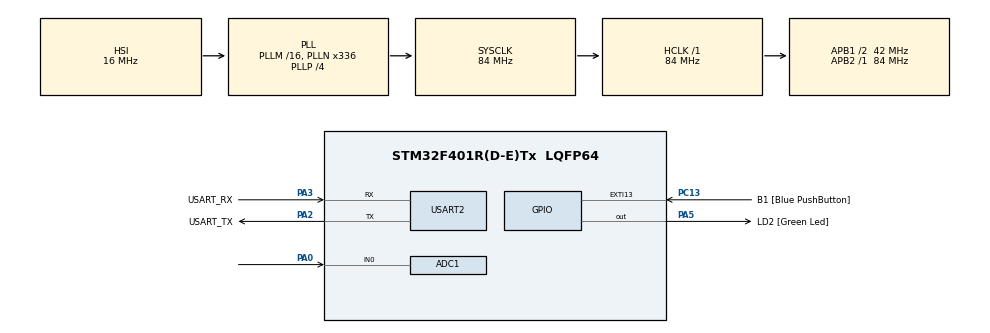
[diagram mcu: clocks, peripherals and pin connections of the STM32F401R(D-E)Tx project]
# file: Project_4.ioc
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ADC1.Channel-0\#ChannelRegularConversion=ADC_CHANNEL_0
ADC1.DMAContinuousRequests=ENABLE
ADC1.ExternalTrigConv=ADC_EXTERNALTRIGCONV_T3_TRGO
ADC1.NbrOfConversionFlag=1
ADC1.Rank-0\#ChannelRegularConversion=1
ADC1.SamplingTime-0\#ChannelRegularConversion=ADC_SAMPLETIME_480CYCLES
ADC1.master=1
Dma.ADC1.0.Direction=DMA_PERIPH_TO_MEMORY
Dma.ADC1.0.FIFOMode=DMA_FIFOMODE_DISABLE
Dma.ADC1.0.Instance=DMA2_Stream0
Dma.ADC1.0.MemDataAlignment=DMA_MDATAALIGN_WORD
Dma.ADC1.0.MemInc=DMA_MINC_ENABLE
Dma.ADC1.0.Mode=DMA_CIRCULAR
Dma.ADC1.0.PeriphDataAlignment=DMA_PDATAALIGN_WORD
Dma.ADC1.0.PeriphInc=DMA_PINC_DISABLE
Dma.ADC1.0.Priority=DMA_PRIORITY_LOW
Dma.Request0=ADC1
Mcu.Family=STM32F4
Mcu.Name=STM32F401R(D-E)Tx
Mcu.Package=LQFP64
NVIC.ADC_IRQn=true\:0\:0\:false\:false\:true\:true\:true
NVIC.DMA2_Stream0_IRQn=true\:0\:0\:false\:false\:true\:false\:true
NVIC.PriorityGroup=NVIC_PRIORITYGROUP_0
PA0-WKUP.Signal=ADCx_IN0
PA13.GPIO_Label=TMS
PA13.Mode=Serial_Wire
PA13.Signal=SYS_JTMS-SWDIO
PA14.GPIO_Label=TCK
PA14.Mode=Serial_Wire
PA14.Signal=SYS_JTCK-SWCLK
PA2.GPIO_Label=USART_TX
PA2.GPIO_Mode=GPIO_MODE_AF_PP
PA2.GPIO_PuPd=GPIO_NOPULL
PA2.GPIO_Speed=GPIO_SPEED_FREQ_LOW
PA2.Mode=Asynchronous
PA2.Signal=USART2_TX
PA3.GPIO_Label=USART_RX
PA3.GPIO_Mode=GPIO_MODE_AF_PP
PA3.GPIO_PuPd=GPIO_NOPULL
PA3.GPIO_Speed=GPIO_SPEED_FREQ_LOW
PA3.Mode=Asynchronous
PA3.Signal=USART2_RX
PA5.GPIO_Label=LD2 [Green Led]
PA5.GPIO_Mode=GPIO_MODE_OUTPUT_PP
PA5.GPIO_PuPd=GPIO_NOPULL
PA5.GPIO_Speed=GPIO_SPEED_FREQ_LOW
PA5.Signal=GPIO_Output
PB3.GPIO_Label=SWO
PB3.Signal=SYS_JTDO-SWO
PC13-ANTI_TAMP.GPIO_Label=B1 [Blue PushButton]
PC13-ANTI_TAMP.GPIO_ModeDefaultEXTI=GPIO_MODE_IT_FALLING
PC13-ANTI_TAMP.GPIO_PuPd=GPIO_NOPULL
PC13-ANTI_TAMP.Signal=GPXTI13
PC14-OSC32_IN.Mode=LSE-External-Oscillator
PC14-OSC32_IN.Signal=RCC_OSC32_IN
PC15-OSC32_OUT.Mode=LSE-External-Oscillator
PC15-OSC32_OUT.Signal=RCC_OSC32_OUT
PH0\ -\ OSC_IN.Mode=HSE-External-Clock-Source
PH0\ -\ OSC_IN.Signal=RCC_OSC_IN
PH1\ -\ OSC_OUT.Mode=HSE-External-Clock-Source
PH1\ -\ OSC_OUT.Signal=RCC_OSC_OUT
ProjectManager.HeapSize=0x200
ProjectManager.StackSize=0x400
ProjectManager.TargetToolchain=STM32CubeIDE
RCC.48MHZClocksFreq_Value=48000000
RCC.AHBFreq_Value=84000000
RCC.APB1CLKDivider=RCC_HCLK_DIV2
RCC.APB1Freq_Value=42000000
RCC.APB1TimFreq_Value=84000000
RCC.APB2Freq_Value=84000000
RCC.APB2TimFreq_Value=84000000
RCC.CortexFreq_Value=84000000
RCC.HCLKFreq_Value=84000000
RCC.HSE_VALUE=8000000
RCC.HSI_VALUE=16000000
RCC.PLLN=336
RCC.PLLP=RCC_PLLP_DIV4
RCC.PLLQ=7
RCC.SYSCLKFreq_VALUE=84000000
RCC.SYSCLKSource=RCC_SYSCLKSOURCE_PLLCLK
RCC.VCOOutputFreq_Value=336000000
SH.ADCx_IN0.0=ADC1_IN0,IN0
TIM3.Period=2000-1
TIM3.Prescaler=42-1
TIM3.TIM_MasterOutputTrigger=TIM_TRGO_UPDATE
USART2.VirtualMode=VM_ASYNC
VP_TIM3_VS_ClockSourceINT.Mode=Internal
board=NUCLEO-F401RE

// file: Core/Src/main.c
/* USER CODE BEGIN Header */
/**
  ******************************************************************************
  * @file           : main.c
  * @brief          : Main program body
  ******************************************************************************
  * @attention
  *
  * <h2><center>&copy; Copyright (c) 2021 STMicroelectronics.
  * All rights reserved.</center></h2>
  *
  * This software component is licensed by ST under BSD 3-Clause license,
  * the "License"; You may not use this file except in compliance with the
  * License. You may obtain a copy of the License at:
  *                        opensource.org/licenses/BSD-3-Clause
  *
  ******************************************************************************
  */
/* USER CODE END Header */
#include "main.h"

/* USER CODE BEGIN Includes */
#include "stdio.h"
#include "string.h"
#include "math.h"
/* USER CODE END Includes */

/* USER CODE BEGIN PD */
#define LENGTH 2000
/* USER CODE END PD */

ADC_HandleTypeDef hadc1;
DMA_HandleTypeDef hdma_adc1;

TIM_HandleTypeDef htim3;

UART_HandleTypeDef huart2;

/* USER CODE BEGIN PV */
char str[30];
uint32_t array[LENGTH];
float avg=0;
/* USER CODE END PV */

void SystemClock_Config(void);
static void MX_GPIO_Init(void);
static void MX_DMA_Init(void);
static void MX_USART2_UART_Init(void);
static void MX_ADC1_Init(void);
static void MX_TIM3_Init(void);

int main(void)
{

  /* MCU Configuration--------------------------------------------------------*/

  /* Reset of all peripherals, Initializes the Flash interface and the Systick. */
  HAL_Init();

  /* Configure the system clock */
  SystemClock_Config();

  /* Initialize all configured peripherals */
  MX_GPIO_Init();
  MX_DMA_Init();
  MX_USART2_UART_Init();
  MX_ADC1_Init();
  MX_TIM3_Init();
  /* USER CODE BEGIN 2 */
  HAL_TIM_Base_Start(&htim3);
  HAL_ADC_Start_DMA(&hadc1, array, LENGTH);
  /* USER CODE END 2 */

  /* Infinite loop */
  while (1)
  {

  }
}

void SystemClock_Config(void)
{
  RCC_OscInitTypeDef RCC_OscInitStruct = {0};
  RCC_ClkInitTypeDef RCC_ClkInitStruct = {0};

  /** Configure the main internal regulator output voltage
  */
  __HAL_RCC_PWR_CLK_ENABLE();
  __HAL_PWR_VOLTAGESCALING_CONFIG(PWR_REGULATOR_VOLTAGE_SCALE2);
  /** Initializes the RCC Oscillators according to the specified parameters
  * in the RCC_OscInitTypeDef structure.
  */
  RCC_OscInitStruct.OscillatorType = RCC_OSCILLATORTYPE_HSI;
  RCC_OscInitStruct.HSIState = RCC_HSI_ON;
  RCC_OscInitStruct.HSICalibrationValue = RCC_HSICALIBRATION_DEFAULT;
  RCC_OscInitStruct.PLL.PLLState = RCC_PLL_ON;
  RCC_OscInitStruct.PLL.PLLSource = RCC_PLLSOURCE_HSI;
  RCC_OscInitStruct.PLL.PLLM = 16;
  RCC_OscInitStruct.PLL.PLLN = 336;
  RCC_OscInitStruct.PLL.PLLP = RCC_PLLP_DIV4;
  RCC_OscInitStruct.PLL.PLLQ = 7;
  if (HAL_RCC_OscConfig(&RCC_OscInitStruct) != HAL_OK)
  {
    Error_Handler();
  }
  /** Initializes the CPU, AHB and APB buses clocks
  */
  RCC_ClkInitStruct.ClockType = RCC_CLOCKTYPE_HCLK|RCC_CLOCKTYPE_SYSCLK
                              |RCC_CLOCKTYPE_PCLK1|RCC_CLOCKTYPE_PCLK2;
  RCC_ClkInitStruct.SYSCLKSource = RCC_SYSCLKSOURCE_PLLCLK;
  RCC_ClkInitStruct.AHBCLKDivider = RCC_SYSCLK_DIV1;
  RCC_ClkInitStruct.APB1CLKDivider = RCC_HCLK_DIV2;
  RCC_ClkInitStruct.APB2CLKDivider = RCC_HCLK_DIV1;

  if (HAL_RCC_ClockConfig(&RCC_ClkInitStruct, FLASH_LATENCY_2) != HAL_OK)
  {
    Error_Handler();
  }
}

static void MX_ADC1_Init(void)
{

  ADC_ChannelConfTypeDef sConfig = {0};

  /** Configure the global features of the ADC (Clock, Resolution, Data Alignment and number of conversion)
  */
  hadc1.Instance = ADC1;
  hadc1.Init.ClockPrescaler = ADC_CLOCK_SYNC_PCLK_DIV4;
  hadc1.Init.Resolution = ADC_RESOLUTION_12B;
  hadc1.Init.ScanConvMode = DISABLE;
  hadc1.Init.ContinuousConvMode = DISABLE;
  hadc1.Init.DiscontinuousConvMode = DISABLE;
  hadc1.Init.ExternalTrigConvEdge = ADC_EXTERNALTRIGCONVEDGE_RISING;
  hadc1.Init.ExternalTrigConv = ADC_EXTERNALTRIGCONV_T3_TRGO;
  hadc1.Init.DataAlign = ADC_DATAALIGN_RIGHT;
  hadc1.Init.NbrOfConversion = 1;
  hadc1.Init.DMAContinuousRequests = ENABLE;
  hadc1.Init.EOCSelection = ADC_EOC_SINGLE_CONV;
  if (HAL_ADC_Init(&hadc1) != HAL_OK)
  {
    Error_Handler();
  }
  /** Configure for the selected ADC regular channel its corresponding rank in the sequencer and its sample time.
  */
  sConfig.Channel = ADC_CHANNEL_0;
  sConfig.Rank = 1;
  sConfig.SamplingTime = ADC_SAMPLETIME_480CYCLES;
  if (HAL_ADC_ConfigChannel(&hadc1, &sConfig) != HAL_OK)
  {
    Error_Handler();
  }

}

static void MX_TIM3_Init(void)
{

  TIM_ClockConfigTypeDef sClockSourceConfig = {0};
  TIM_MasterConfigTypeDef sMasterConfig = {0};

  htim3.Instance = TIM3;
  htim3.Init.Prescaler = 42-1;
  htim3.Init.CounterMode = TIM_COUNTERMODE_UP;
  htim3.Init.Period = 2000-1;
  htim3.Init.ClockDivision = TIM_CLOCKDIVISION_DIV1;
  htim3.Init.AutoReloadPreload = TIM_AUTORELOAD_PRELOAD_DISABLE;
  if (HAL_TIM_Base_Init(&htim3) != HAL_OK)
  {
    Error_Handler();
  }
  sClockSourceConfig.ClockSource = TIM_CLOCKSOURCE_INTERNAL;
  if (HAL_TIM_ConfigClockSource(&htim3, &sClockSourceConfig) != HAL_OK)
  {
    Error_Handler();
  }
  sMasterConfig.MasterOutputTrigger = TIM_TRGO_UPDATE;
  sMasterConfig.MasterSlaveMode = TIM_MASTERSLAVEMODE_DISABLE;
  if (HAL_TIMEx_MasterConfigSynchronization(&htim3, &sMasterConfig) != HAL_OK)
  {
    Error_Handler();
  }

}

static void MX_USART2_UART_Init(void)
{

  huart2.Instance = USART2;
  huart2.Init.BaudRate = 115200;
  huart2.Init.WordLength = UART_WORDLENGTH_8B;
  huart2.Init.StopBits = UART_STOPBITS_1;
  huart2.Init.Parity = UART_PARITY_NONE;
  huart2.Init.Mode = UART_MODE_TX_RX;
  huart2.Init.HwFlowCtl = UART_HWCONTROL_NONE;
  huart2.Init.OverSampling = UART_OVERSAMPLING_16;
  if (HAL_UART_Init(&huart2) != HAL_OK)
  {
    Error_Handler();
  }

}

static void MX_DMA_Init(void)
{

  /* DMA controller clock enable */
  __HAL_RCC_DMA2_CLK_ENABLE();

  /* DMA interrupt init */
  /* DMA2_Stream0_IRQn interrupt configuration */
  HAL_NVIC_SetPriority(DMA2_Stream0_IRQn, 0, 0);
  HAL_NVIC_EnableIRQ(DMA2_Stream0_IRQn);

}

static void MX_GPIO_Init(void)
{
  GPIO_InitTypeDef GPIO_InitStruct = {0};

  /* GPIO Ports Clock Enable */
  __HAL_RCC_GPIOC_CLK_ENABLE();
  __HAL_RCC_GPIOH_CLK_ENABLE();
  __HAL_RCC_GPIOA_CLK_ENABLE();
  __HAL_RCC_GPIOB_CLK_ENABLE();

  /*Configure GPIO pin Output Level */
  HAL_GPIO_WritePin(LD2_GPIO_Port, LD2_Pin, GPIO_PIN_RESET);

  /*Configure GPIO pin : B1_Pin */
  GPIO_InitStruct.Pin = B1_Pin;
  GPIO_InitStruct.Mode = GPIO_MODE_IT_FALLING;
  GPIO_InitStruct.Pull = GPIO_NOPULL;
  HAL_GPIO_Init(B1_GPIO_Port, &GPIO_InitStruct);

  /*Configure GPIO pin : LD2_Pin */
  GPIO_InitStruct.Pin = LD2_Pin;
  GPIO_InitStruct.Mode = GPIO_MODE_OUTPUT_PP;
  GPIO_InitStruct.Pull = GPIO_NOPULL;
  GPIO_InitStruct.Speed = GPIO_SPEED_FREQ_LOW;
  HAL_GPIO_Init(LD2_GPIO_Port, &GPIO_InitStruct);

}

/* USER CODE BEGIN 4 */
void HAL_ADC_ConvCpltCallback(ADC_HandleTypeDef* hadc)
{
	int sum=0;
	for(int i=LENGTH/2; i<LENGTH; i++){
		sum += array[i];
	}
	avg = sum/1000.0;
	avg = avg*3.3/4096;
	float LDR = (avg*100000)/(3.3 - avg);
	float LUX = powf((100000/LDR), 4/3);

	char str[50];
	snprintf(str, sizeof(str), "Volt: %1.3fV\r\nLDR: %1.3fOhm\r\nLUX: %1.3flx\r\n", avg, LDR, LUX);
	HAL_UART_Transmit(&huart2, str, strlen(str), 100);
}

void HAL_ADC_ConvHalfCpltCallback(ADC_HandleTypeDef* hadc)
{
	int sum=0;
	for(int i=0; i<LENGTH/2; i++){
		sum += array[i];
	}
	avg = sum/1000.0;
	avg = avg*3.3/4096;
	float LDR = (avg*100000)/(3.3 - avg);
	float LUX = powf((100000/LDR), 4/3);

	char str[50];
	snprintf(str, sizeof(str), "Volt: %1.3fV\r\nLDR: %1.3fOhm\r\nLUX: %1.3flx\r\n", avg, LDR, LUX);
	HAL_UART_Transmit(&huart2, str, strlen(str), 100);
}
/* USER CODE END 4 */

void Error_Handler(void)
{
}

/************************ (C) COPYRIGHT STMicroelectronics *****END OF FILE****/
